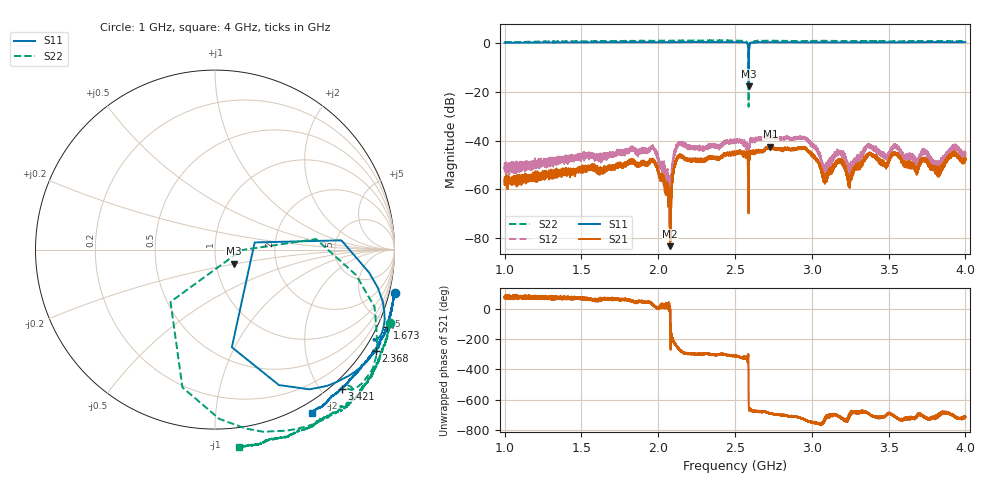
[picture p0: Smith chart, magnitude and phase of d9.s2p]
!Agilent Technologies,N5230C,SG49000117,A.08.50.07
!Agilent N5230C: A.08.50.07
!Date: Monday, May 20, 2024 21:08:46
!Correction: S11(Full 2 Port(1,2))
!S21(Full 2 Port(1,2))
!S12(Full 2 Port(1,2))
!S22(Full 2 Port(1,2))
!S2P File: Measurements: S11, S21, S12, S22:
# Hz S  MA  R 50
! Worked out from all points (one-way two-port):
!   20001 points, 1 GHz to 4 GHz, reference 50 ohm
!   highest |S21| = -42.50 dB at 2.731 GHz (marker M1); lowest = -83.4 dB at 2.078 GHz (marker M2)
!   lowest |S11| = -17.7 dB at 2.589 GHz (marker M3), VSWR 1.30, Z = 60.7 - j9.64 ohm
!   |S11| at or under -10 dB: 2.588104 GHz to 2.589524 GHz (1.421 MHz wide, 0.0549 % of centre)
!   |S22| runs from -26.1 to 1.2 dB; largest |S21 - S12| = 0.0072
!   S11 on the Smith chart (normalised r, x): 1 GHz: -1.00, -8.28; 1.673 GHz: -0.56, -4.57; 2.368 GHz: -0.38, -3.44; 3.421 GHz: -0.14, -2.26; 4 GHz: -0.12, -1.75
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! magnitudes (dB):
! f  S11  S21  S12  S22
! 1 GHz  0.2  -56.3  -50.2  0.5
! 1.5 GHz  0.4  -51.6  -47.1  0.8
! 1.673 GHz  0.4  -51.7  -46.1  0.9
! 1.961 GHz  0.5  -48.0  -43.1  1.0
! 2 GHz  0.4  -52.7  -46.8  1.0
! 2.078 GHz  0.4  -83.4  -64.8  1.0
! 2.106 GHz  0.4  -50.0  -46.3  1.1
! 2.134 GHz  0.4  -46.3  -41.2  1.1
! 2.368 GHz  0.5  -47.1  -42.0  1.1
! 2.5 GHz  0.5  -45.2  -40.0  1.1
! 2.589 GHz  -17.7  -48.6  -47.8  -22.1
! 2.731 GHz  0.4  -42.5  -38.2  1.1
! 3 GHz  0.4  -46.1  -42.4  1.0
! 3.085 GHz  0.4  -55.9  -52.3  1.0
! 3.168 GHz  0.4  -48.7  -44.9  1.0
! 3.245 GHz  0.4  -57.6  -52.9  0.9
! 3.421 GHz  0.4  -46.6  -43.3  0.9
! 3.5 GHz  0.4  -48.6  -46.1  0.8
! 3.735 GHz  0.5  -47.3  -45.0  0.9
! 3.818 GHz  0.5  -52.9  -48.8  0.9
! 3.926 GHz  0.4  -45.1  -42.7  0.9
! 4 GHz  0.5  -47.7  -45.6  0.9
